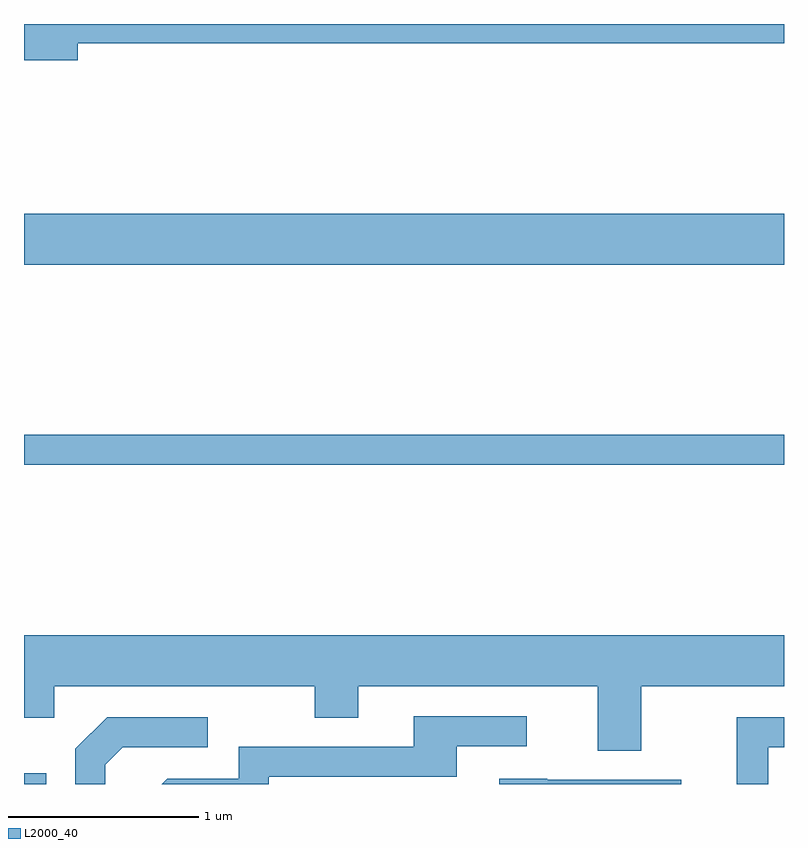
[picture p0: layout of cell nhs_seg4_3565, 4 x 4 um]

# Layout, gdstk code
import gdstk
lib = gdstk.Library(unit=1e-6, precision=1e-09)
def R(c, l, rs):  # rectangles x0, y0, x1, y1
    for r in rs: c.add(gdstk.rectangle(r[:2], r[2:], *l))
def P(c, l, *ps):  # polygons
    for p in ps: c.add(gdstk.Polygon(p, *l))
L2000_40 = (2000, 40)

nhs_seg4_3565 = lib.new_cell('nhs_seg4_3565')
R(nhs_seg4_3565, L2000_40, [(289.611,1311.982,289.729,1312.039), (289.611,1313.661,293.611,1313.819), (289.611,1314.716,293.611,1314.984)])
P(nhs_seg4_3565, L2000_40, [(289.894,1315.881),(293.611,1315.881),(293.611,1315.982),(289.611,1315.982),(289.611,1315.791),(289.894,1315.791)],
  [(292.859,1312.496),(293.611,1312.496),(293.611,1312.764),(289.611,1312.764),(289.611,1312.331),(289.769,1312.331),(289.769,1312.496),(291.141,1312.496),(291.141,1312.331),(291.369,1312.331),(291.369,1312.496),(292.631,1312.496),(292.631,1312.156),(292.859,1312.156)],
  [(290.899,1312.021),(291.889,1312.021),(291.889,1312.181),(292.258,1312.181),(292.258,1312.339),(291.661,1312.339),(291.661,1312.179),(290.741,1312.179),(290.741,1312.009),(290.364,1312.009),(290.337,1311.982),(290.899,1311.982)],
  [(293.529,1312.176),(293.611,1312.176),(293.611,1312.334),(293.361,1312.334),(293.361,1311.982),(293.529,1311.982)],
  [(290.039,1312.084),(290.132,1312.176),(290.578,1312.176),(290.578,1312.334),(290.049,1312.334),(289.881,1312.167),(289.881,1311.982),(290.039,1311.982)],
  [(293.069,1312.004),(292.365,1312.004),(292.365,1312.009),(292.111,1312.009),(292.111,1311.982),(293.069,1311.982)])

lib.write_gds('nhs_seg4_3565.gds')
